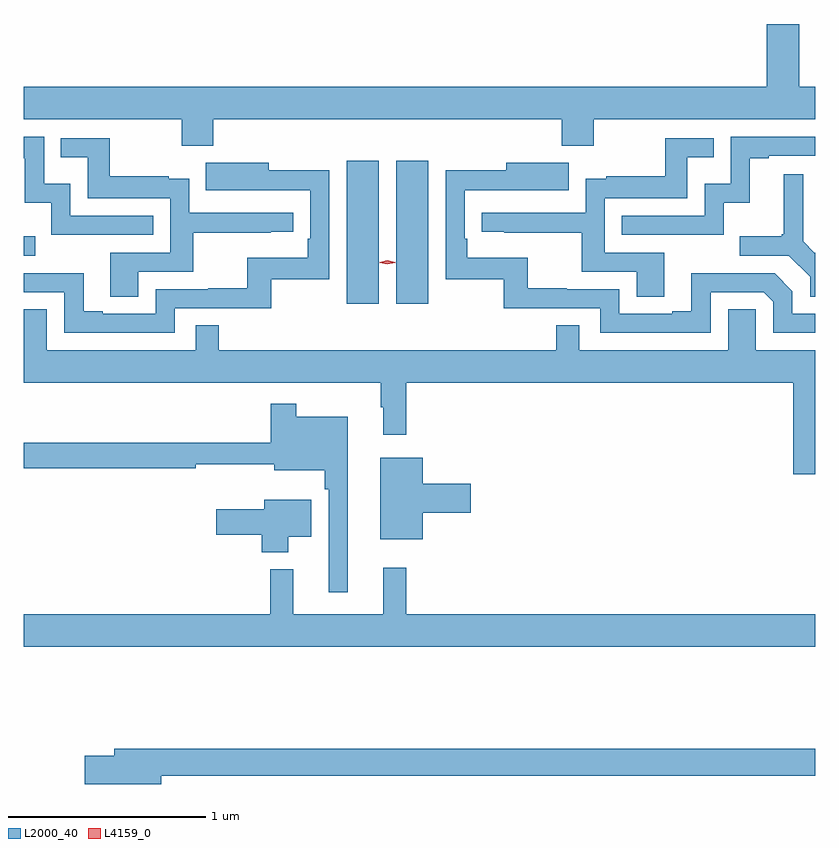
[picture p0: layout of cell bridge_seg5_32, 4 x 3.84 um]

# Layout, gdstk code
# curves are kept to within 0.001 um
import gdstk
lib = gdstk.Library(unit=1e-6, precision=1e-09)
def R(c, l, rs):  # rectangles x0, y0, x1, y1
    for r in rs: c.add(gdstk.rectangle(r[:2], r[2:], *l))
def P(c, l, *ps):  # polygons
    for p in ps: c.add(gdstk.Polygon(p, *l))
L2000_40 = (2000, 40)
L4159_0 = (4159, 0)

bridge_seg5_32 = lib.new_cell('bridge_seg5_32')
R(bridge_seg5_32, L2000_40, [(941.219,909.108,941.38,909.829), (941.468,909.108,941.629,909.829), (939.586,909.351,939.646,909.448)])
P(bridge_seg5_32, L2000_40, [(940.544,910.04),(942.305,910.04),(942.305,909.905),(942.465,909.905),(942.465,910.04),(943.586,910.04),(943.586,910.204),(943.504,910.204),(943.504,910.521),(943.34,910.521),(943.34,910.204),(939.586,910.204),(939.586,910.04),(940.384,910.04),(940.384,909.905),(940.544,909.905)],
  [(943.122,909.617),(943.255,909.617),(943.255,909.843),(943.351,909.843),(943.351,909.855),(943.586,909.855),(943.586,909.951),(943.158,909.951),(943.158,909.715),(943.026,909.715),(943.026,909.552),(942.607,909.552),(942.607,909.456),(943.122,909.456)],
  [(940.241,909.552),(939.822,909.552),(939.822,909.715),(939.69,909.715),(939.69,909.951),(939.586,909.951),(939.586,909.843),(939.593,909.843),(939.593,909.617),(939.726,909.617),(939.726,909.456),(940.241,909.456)],
  [(942.823,909.366),(942.522,909.366),(942.522,909.642),(942.939,909.642),(942.939,909.848),(943.073,909.848),(943.073,909.945),(942.828,909.945),(942.828,909.751),(942.529,909.751),(942.529,909.739),(942.426,909.739),(942.426,909.567),(941.901,909.567),(941.901,909.471),(942.013,909.471),(942.013,909.466),(942.406,909.466),(942.406,909.27),(942.683,909.27),(942.683,909.142),(942.823,909.142)],
  [(940.165,909.27),(940.442,909.27),(940.442,909.466),(940.835,909.466),(940.835,909.471),(940.948,909.471),(940.948,909.567),(940.422,909.567),(940.422,909.739),(940.319,909.739),(940.319,909.751),(940.021,909.751),(940.021,909.945),(939.775,909.945),(939.775,909.848),(939.91,909.848),(939.91,909.642),(940.326,909.642),(940.326,909.366),(940.025,909.366),(940.025,909.142),(940.165,909.142)],
  [(940.35,909.084),(940.837,909.084),(940.837,909.231),(941.13,909.231),(941.13,909.782),(940.825,909.782),(940.825,909.82),(940.507,909.82),(940.507,909.68),(940.721,909.68),(940.721,909.681),(941.034,909.681),(941.034,909.436),(941.021,909.436),(941.021,909.34),(940.716,909.34),(940.716,909.185),(940.519,909.185),(940.519,909.18),(940.254,909.18),(940.254,909.057),(939.985,909.057),(939.985,909.07),(939.889,909.07),(939.889,909.263),(939.684,909.263),(939.684,909.261),(939.586,909.261),(939.586,909.165),(939.792,909.165),(939.792,908.961),(940.35,908.961)],
  [(943.056,909.165),(943.326,909.165),(943.374,909.117),(943.374,908.961),(943.586,908.961),(943.586,909.057),(943.47,909.057),(943.47,909.171),(943.38,909.261),(943.164,909.261),(943.164,909.263),(942.959,909.263),(942.959,909.07),(942.863,909.07),(942.863,909.057),(942.594,909.057),(942.594,909.18),(942.329,909.18),(942.329,909.185),(942.133,909.185),(942.133,909.34),(941.828,909.34),(941.828,909.436),(941.814,909.436),(941.814,909.681),(942.341,909.68),(942.341,909.82),(942.023,909.82),(942.023,909.782),(941.718,909.782),(941.718,909.231),(942.012,909.231),(942.012,909.084),(942.498,909.084),(942.498,908.961),(943.056,908.961)],
  [(943.586,909.366),(943.581,909.366),(943.524,909.423),(943.524,909.763),(943.427,909.763),(943.427,909.46),(943.416,909.46),(943.416,909.448),(943.203,909.448),(943.203,909.351),(943.452,909.351),(943.559,909.244),(943.559,909.142),(943.586,909.142)],
  [(943.586,908.872),(943.284,908.872),(943.284,909.08),(943.145,909.08),(943.145,908.872),(942.393,908.872),(942.393,908.999),(942.277,908.999),(942.277,908.872),(940.571,908.872),(940.571,908.999),(940.455,908.999),(940.455,908.872),(939.703,908.872),(939.703,909.08),(939.586,909.08),(939.586,908.708),(941.391,908.708),(941.391,908.585),(941.402,908.585),(941.402,908.445),(941.519,908.445),(941.519,908.708),(943.475,908.708),(943.475,908.247),(943.586,908.247)],
  [(941.224,908.536),(940.963,908.536),(940.963,908.602),(940.834,908.602),(940.834,908.407),(939.586,908.407),(939.586,908.278),(940.457,908.278),(940.457,908.296),(940.853,908.296),(940.853,908.267),(941.107,908.267),(941.107,908.171),(941.127,908.171),(941.127,907.65),(941.224,907.65)],
  [(941.602,908.051),(941.845,908.051),(941.845,908.198),(941.602,908.198),(941.602,908.329),(941.387,908.329),(941.387,907.919),(941.602,907.919)],
  [(940.924,907.931),(941.038,907.931),(941.038,908.119),(940.802,908.119),(940.802,908.071),(940.56,908.071),(940.56,907.942),(940.79,907.942),(940.79,907.853),(940.924,907.853)],
  [(943.586,907.54),(941.519,907.54),(941.519,907.774),(941.402,907.774),(941.402,907.54),(940.949,907.54),(940.949,907.768),(940.831,907.768),(940.831,907.54),(939.586,907.54),(939.586,907.376),(943.586,907.376)],
  [(940.282,906.724),(943.586,906.724),(943.586,906.86),(940.043,906.86),(940.043,906.824),(939.894,906.824),(939.894,906.682),(940.282,906.682)])
P(bridge_seg5_32, L4159_0, [(941.424,909.307),(941.384,909.316),(941.384,909.317),(941.384,909.317),(941.424,909.327),(941.464,909.317),(941.464,909.317),(941.464,909.316)])

lib.write_gds('bridge_seg5_32.gds')
